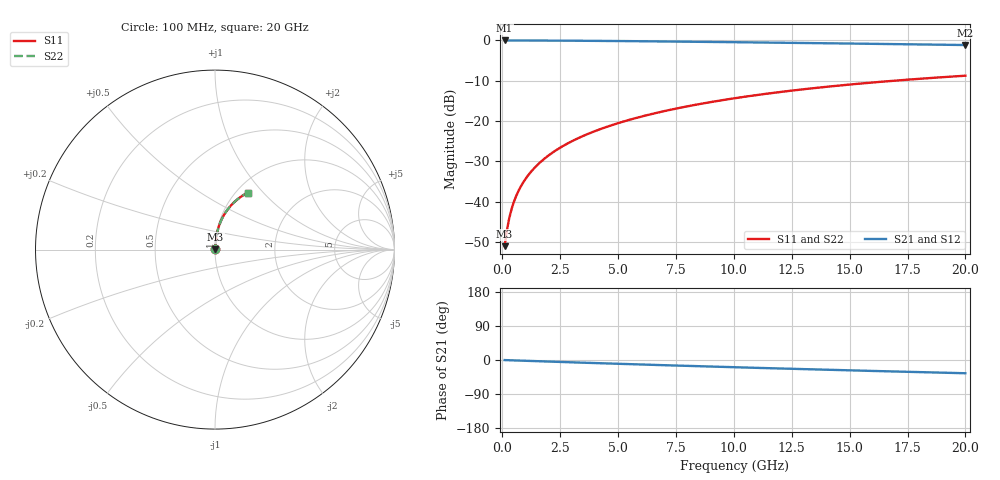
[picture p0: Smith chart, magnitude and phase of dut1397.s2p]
! Touchstone file exported from HFSS 2024.1.0
!  File:  C:/UserFiles/LocalFiles/RDL_TSV_Batchsim/temp_RDL_bottom_1397_1780372331.aedt
!  Generated:  11:54:49 AM Jun  2, 2026
!  Design:  RDL_bottom
!  Project:  temp_RDL_bottom_1397_1780372331
!  Setup:  Setup1
!  Solution:  Sweep
! Variables:
!  dtsv = 10.80580581um
!  hbump = 3um
!  htsv = 68.45um
!  ldown = 462.88um
!  lrdl = 100um
!  p = 40
!  p1 = 53.24um
!  rhole = 1um
!  t = 450um
!  tdown = 4.78um
!  trdl = 3.915915916um
!  wdown = 18.38um
!  wrdl = 20um
# GHz S MA R 50.000000
! Terminal data exported
! Port[1] = RDL1_T1
! Port[2] = RDL1_T2
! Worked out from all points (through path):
!   200 points, 100 MHz to 20 GHz, reference 50 ohm
!   highest |S21| = -0.02 dB at 100 MHz (marker M1); lowest = -1.2 dB at 20 GHz (marker M2)
!   group delay of S21, straight-line fit = 4.82 ps
!   lowest |S11| = -51.0 dB at 100 MHz (marker M3), VSWR 1.01, Z = 50.2 + j0.198 ohm
!   |S11| at or under -10 dB: start of sweep to 16.92 GHz
!   |S22| runs from -51.0 to -8.8 dB; largest |S21 - S12| = 3.5e-15
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0.1  0.002807 44.6  0.998 -0.2  0.998 -0.2  0.002807 44.6
! Gamma 0 0 0 0
! Port Impedance 50 0 50 0
0.2  0.004435 62.3  0.9979 -0.4  0.9979 -0.4  0.004435 62.3
0.3  0.006242 69.9  0.9978 -0.6  0.9978 -0.6  0.006241 69.9
0.4  0.008086 73.8  0.9977 -0.8  0.9977 -0.8  0.008085 73.8
0.5  0.009933 76.2  0.9975 -1.0  0.9975 -1.0  0.009932 76.2
0.7  0.01361 79.1  0.9973 -1.5  0.9973 -1.5  0.0136 79.1
0.8  0.01544 80.0  0.9971 -1.7  0.9971 -1.7  0.01543 80.0
1  0.01909 81.3  0.9968 -2.1  0.9968 -2.1  0.01909 81.3
1.2  0.02274 82.2  0.9965 -2.5  0.9965 -2.5  0.02274 82.2
1.4  0.0264 82.8  0.9961 -2.9  0.9961 -2.9  0.0264 82.8
1.7  0.03192 83.4  0.9954 -3.5  0.9954 -3.5  0.03192 83.4
2  0.03745 83.8  0.9946 -4.1  0.9946 -4.1  0.03745 83.8
2.7  0.05047 84.1  0.9924 -5.5  0.9924 -5.5  0.05047 84.1
3.5  0.06549 83.9  0.9892 -7.1  0.9892 -7.1  0.0655 84.0
4.2  0.07877 83.5  0.9859 -8.5  0.9859 -8.5  0.07878 83.5
5  0.09408 82.8  0.9817 -10.0  0.9817 -10.0  0.09409 82.8
6.8  0.1289 80.8  0.9712 -13.4  0.9712 -13.4  0.129 80.8
8.4  0.1601 78.6  0.961 -16.3  0.961 -16.3  0.1601 78.6
10.1  0.193 76.0  0.9495 -19.2  0.9495 -19.2  0.1931 76.0
13.4  0.2549 70.7  0.9259 -24.7  0.9259 -24.7  0.2549 70.7
16.7  0.3125 65.4  0.9012 -30.0  0.9012 -30.0  0.3126 65.4
20  0.3649 60.2  0.8759 -35.0  0.8759 -35.0  0.365 60.3
